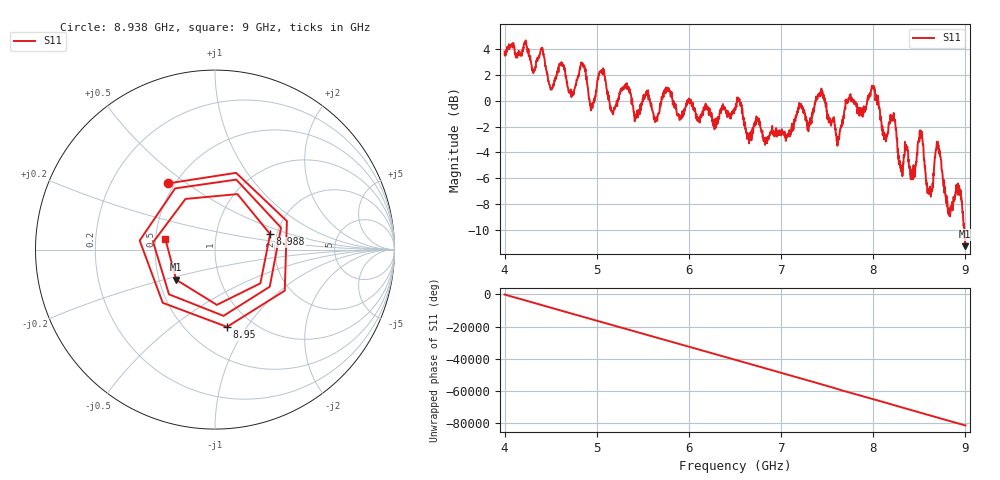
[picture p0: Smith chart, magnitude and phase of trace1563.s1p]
! Created with skrf 1.8.0 (http://scikit-rf.org).
# Hz S RI R 50.0
!freq ReS11 ImS11
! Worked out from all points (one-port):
!   1601 points, 4 GHz to 9 GHz, reference 50 ohm
!   lowest |S11| = -11.3 dB at 8.997 GHz (marker M1), VSWR 1.75, Z = 30.7 - j11.1 ohm
!   |S11| at or under -10 dB: 8.990106 GHz to end of sweep
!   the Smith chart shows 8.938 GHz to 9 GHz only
!   S11 on the Smith chart (normalised r, x): 8.938 GHz: 0.46, +0.43; 8.95 GHz: 0.77, -0.82; 8.988 GHz: 1.84, +0.35; 9 GHz: 0.56, +0.07
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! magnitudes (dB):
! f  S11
! 4 GHz  3.8
! 4.625 GHz  2.7
! 4.725 GHz  0.3
! 4.853 GHz  2.8
! 4.941 GHz  -0.6
! 5.053 GHz  2.3
! 5.162 GHz  -0.8
! 5.25 GHz  0.6
! 5.875 GHz  -1.2
! 6.5 GHz  -0.6
! 7.125 GHz  -1.8
! 7.438 GHz  0.9
! 7.619 GHz  -2.8
! 7.75 GHz  0.4
! 7.997 GHz  1.1
! 8.222 GHz  -1.0
! 8.297 GHz  -5.1
! 8.375 GHz  -3.9
! 8.428 GHz  -5.9
! 8.519 GHz  -2.4
! 8.612 GHz  -7.2
! 8.7 GHz  -3.2
! 8.812 GHz  -8.7
! 8.938 GHz  -6.9
! 8.95 GHz  -7.2
! 8.988 GHz  -9.9
! 8.997 GHz  -11.3
! 9 GHz  -11.0
